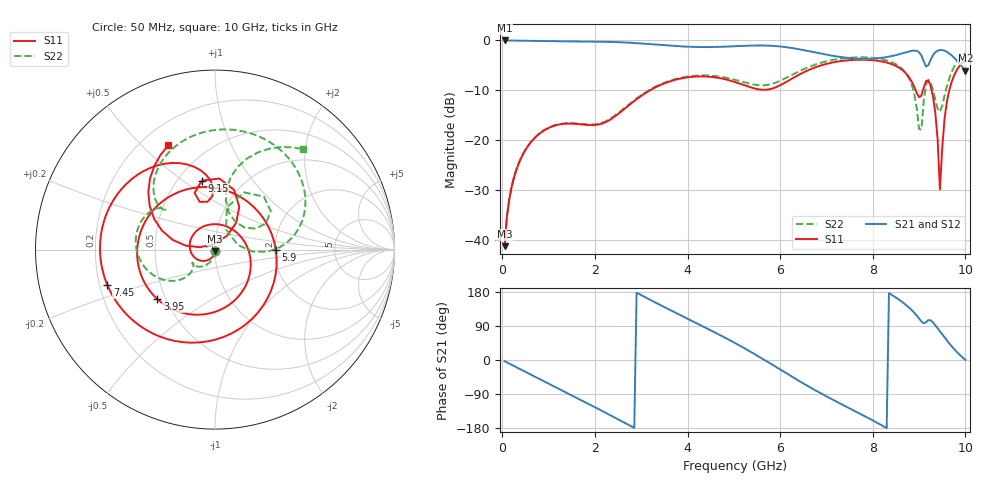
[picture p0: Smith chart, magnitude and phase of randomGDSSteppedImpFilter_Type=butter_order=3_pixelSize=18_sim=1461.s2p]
! freq	dB(S11)	phase(S11)	dB(S12)	phase(S12)
!  dB(S21)	phase(S21)	dB(S22)	phase(S22)
!S-par simulation data
#  GHz  S  DB  R 50
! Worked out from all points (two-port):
!   200 points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, 50 MHz to 10 GHz, reference 50 ohm
!   highest |S21| = -0.01 dB at 50 MHz (marker M1); lowest = -6.1 dB at 10 GHz (marker M2)
!   |S21| within 3 dB of the highest: start of sweep to 7.091 GHz; 8.47 GHz to 9.05 GHz (579.8 MHz wide, 6.62 % of centre) (the widest 2 of 3)
!   lowest |S11| = -41.2 dB at 50 MHz (marker M3), VSWR 1.02, Z = 50 - j0.867 ohm
!   |S11| at or under -10 dB: start of sweep to 3.188 GHz; 8.926 GHz to 9.084 GHz (157.4 MHz wide, 1.75 % of centre); 9.271 GHz to 9.652 GHz (381.2 MHz wide, 4.03 % of centre)
!   |S22| runs from -41.2 to -2.6 dB; largest |S21 - S12| = 0
!   S11 on the Smith chart (normalised r, x): 50 MHz: 1.00, -0.02; 3.95 GHz: 0.45, -0.30; 5.9 GHz: 2.02, +0.00; 7.45 GHz: 0.23, -0.15; 9.15 GHz: 0.65, +0.59; 10 GHz: 0.31, +0.60
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0.05  -41.22 -92.7  -0.01 -3.2  -0.01 -3.2  -41.18 -91.0
0.2  -29.43 -105.1  -0.03 -12.6  -0.03 -12.6  -29.39 -99.0
0.5  -21.94 -129.5  -0.07 -31.3  -0.07 -31.3  -21.90 -113.6
1.15  -17.02 175.9  -0.18 -71.4  -0.18 -71.4  -16.97 -139.7
1.75  -16.87 111.6  -0.22 -108.7  -0.22 -108.7  -16.76 -149.9
2.6  -14.00 -11.4  -0.39 -163.0  -0.39 -163.0  -13.83 -136.2
3.4  -8.99 -94.1  -0.89 145.8  -0.89 145.8  -8.85 -155.2
3.95  -7.46 -139.4  -1.23 112.0  -1.23 112.0  -7.30 -176.7
4.5  -7.30 175.7  -1.32 78.5  -1.32 78.5  -7.06 162.0
5.05  -8.41 122.6  -1.15 43.2  -1.15 43.2  -7.95 145.4
5.9  -9.40 0.0  -1.13 -17.7  -1.13 -17.7  -8.47 142.4
6.7  -5.60 -99.7  -2.30 -75.8  -2.30 -75.8  -5.03 123.7
7.45  -3.99 -161.9  -3.49 -124.5  -3.49 -124.5  -3.50 88.9
8.35  -4.56 132.3  -3.25 176.4  -3.25 176.4  -4.15 39.3
8.8  -7.63 96.4  -2.18 136.5  -2.18 136.5  -7.93 5.4
9  -11.38 98.8  -2.36 109.3  -2.36 109.3  -17.77 11.5
9.05  -11.08 107.8  -3.00 101.7  -3.00 101.7  -17.86 60.9
9.15  -8.14 100.8  -5.24 99.6  -5.24 99.6  -8.92 63.0
9.35  -14.45 51.6  -2.39 91.9  -2.39 91.9  -11.85 27.2
9.45  -29.86 95.8  -1.93 75.7  -1.93 75.7  -14.31 54.1
9.6  -12.32 167.0  -2.29 51.6  -2.29 51.6  -9.20 79.2
10  -3.92 114.1  -6.08 0.3  -6.08 0.3  -2.58 48.9
